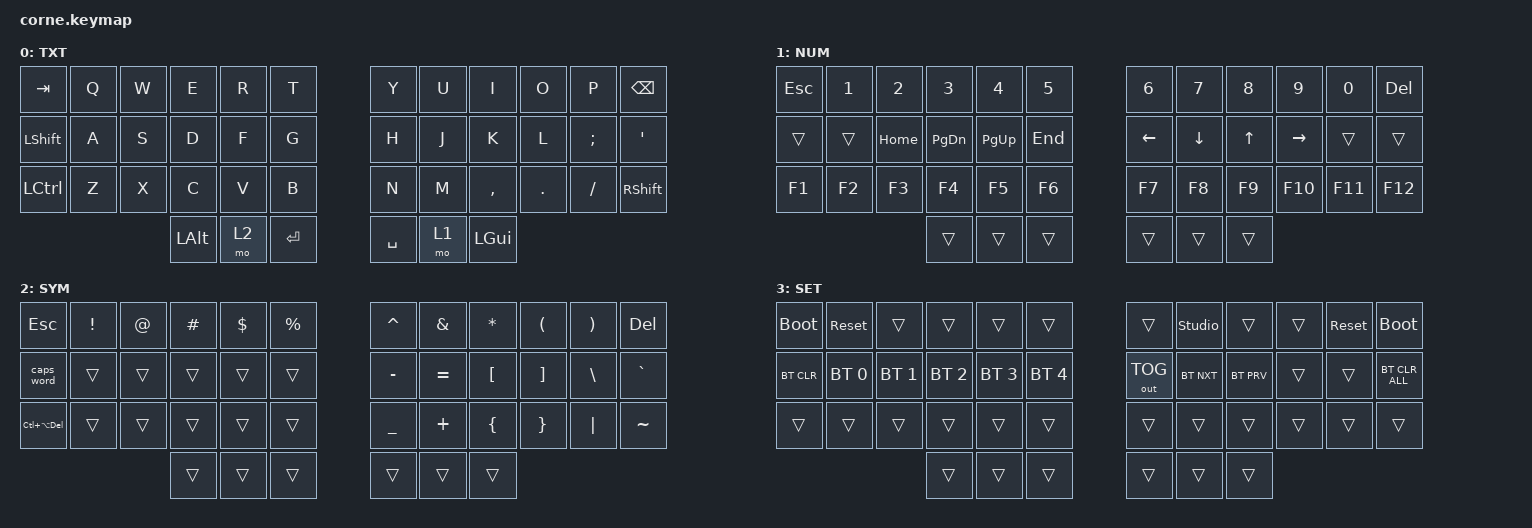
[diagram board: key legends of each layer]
/*
 * Copyright (c) 2020 The ZMK Contributors
 *
 * SPDX-License-Identifier: MIT
 */

#include <behaviors.dtsi>
#include <dt-bindings/zmk/keys.h>
#include <dt-bindings/zmk/bt.h>
#include <dt-bindings/zmk/outputs.h>

/ {
    keymap {
        compatible = "zmk,keymap";

         // Layer 0
        text_layer {
            // -----------------------------------------------------------------------------------------
            // |  TAB |  Q  |  W  |  E  |  R  |  T  |   |  Y  |  U   |  I  |  O  |  P  | BKSP |
            // | SHFT |  A  |  S  |  D  |  F  |  G  |   |  H  |  J   |  K  |  L  |  ;  |  '   |
            // | CTRL |  Z  |  X  |  C  |  V  |  B  |   |  N  |  M   |  ,  |  .  |  /  | SHFT |
            //                    | ALT | SYM | RET |   | SPC | NUM  | GUI |

            bindings = <
&kp TAB         &kp Q  &kp W  &kp E     &kp R  &kp T         &kp Y      &kp U  &kp I      &kp O    &kp P     &kp BSPC
&kp LEFT_SHIFT  &kp A  &kp S  &kp D     &kp F  &kp G         &kp H      &kp J  &kp K      &kp L    &kp SEMI  &kp SQT
&kp LCTRL       &kp Z  &kp X  &kp C     &kp V  &kp B         &kp N      &kp M  &kp COMMA  &kp DOT  &kp FSLH  &kp RIGHT_SHIFT
                              &kp LALT  &mo 2  &kp RETURN    &kp SPACE  &mo 1  &kp LGUI
            >;

            label = "Text";
            display-name = "TXT";
        };

        // Layer 1
        numbers_layer {
            // -----------------------------------------------------------------------------------------
            // |  ESC |  1  |  2  |  3  |  4  |  5  |   |  6  |  7  |  8  |  9  |  0  | DEL   |
            // |      |     |     |     |     |     |   | LFT | DWN |  UP | RGT |     |       |
            // |  F1  | F2  | F3  | F4  | F5  | F6  |   | F7  | F8  |  F9 | F10 | F11 | F12   |
            //                    |     |     |     |   |     |     |     |

            bindings = <
&kp ESC &kp N1   &kp N2    &kp N3         &kp N4       &kp N5     &kp N6    &kp N7    &kp N8  &kp N9     &kp N0    &kp DEL
&trans  &trans   &kp HOME  &kp PAGE_DOWN  &kp PAGE_UP  &kp END    &kp LEFT  &kp DOWN  &kp UP  &kp RIGHT  &trans    &trans
&kp F1  &kp F2   &kp F3    &kp F4         &kp F5       &kp F6     &kp F7    &kp F8    &kp F9  &kp F10    &kp F11   &kp F12
                           &trans         &trans       &trans     &trans    &trans    &trans
            >;

            label = "Numbers";
            display-name = "NUM";
        };

        // Layer 2
        symbols_layer {  
            // -----------------------------------------------------------------------------------------
            // |  TAB |  !  |  @  |  #  |  $  |  %  |   |  ^  |  &  |  *  |  (  |  )  | DEL  |
            // | CAPS |     |     |     |     |     |   |  -  |  =  |  [  |  ]  |  \  |  `   |
            // |  CAD |     |     |     |     |     |   |  _  |  +  |  {  |  }  | "|" |  ~   |
            //                    |     |     |     |   |     |     |     |

            bindings = <
&kp ESC          &kp EXCL  &kp AT  &kp HASH  &kp DLLR   &kp PRCNT    &kp CARET  &kp AMPS   &kp ASTERISK  &kp LPAR  &kp RPAR  &kp DEL
&caps_word       &trans    &trans  &trans    &trans     &trans       &kp MINUS  &kp EQUAL  &kp LBKT      &kp RBKT  &kp BSLH  &kp GRAVE
&kp LC(LA(DEL))  &trans    &trans  &trans    &trans     &trans       &kp UNDER  &kp PLUS   &kp LBRC      &kp RBRC  &kp PIPE  &kp TILDE
                                   &trans    &trans     &trans       &trans     &trans     &trans
            >;

            label = "Symbols";
            display-name = "SYM";
        };

        // Layer 3
        settings_layer {  
            // -----------------------------------------------------------------------------------------
            // | BL     | RST |     |     |     |     |   |     | UNL |     |     | RST | BL     |
            // | BT CLR | BT1 | BT2 | BT3 | BT4 | BT5 |   | OUT | BTN | BTP |     |     | BT RST |
            // |        |     |     |     |     |     |   |     |     |     |     |     |        |
            //                      |     |     |     |   |     |     |     |

            bindings = <
&bootloader  &sys_reset    &trans        &trans        &trans        &trans       &trans        &studio_unlock  &trans      &trans   &sys_reset  &bootloader
&bt BT_CLR   &bt BT_SEL 0  &bt BT_SEL 1  &bt BT_SEL 2  &bt BT_SEL 3  &bt BT_SEL 4 &out OUT_TOG  &bt BT_NXT      &bt BT_PRV  &trans   &trans      &bt BT_CLR_ALL
&trans       &trans        &trans        &trans        &trans        &trans       &trans        &trans          &trans      &trans   &trans      &trans
                                         &trans        &trans        &trans       &trans        &trans          &trans
            >;

            label = "Settings";
            display-name = "SET";
        };
    };

    conditional_layers {
        compatible = "zmk,conditional-layers";

        bt_ctrl {
            if-layers = <1 2>;
            then-layer = <3>;
        };
    };
};
